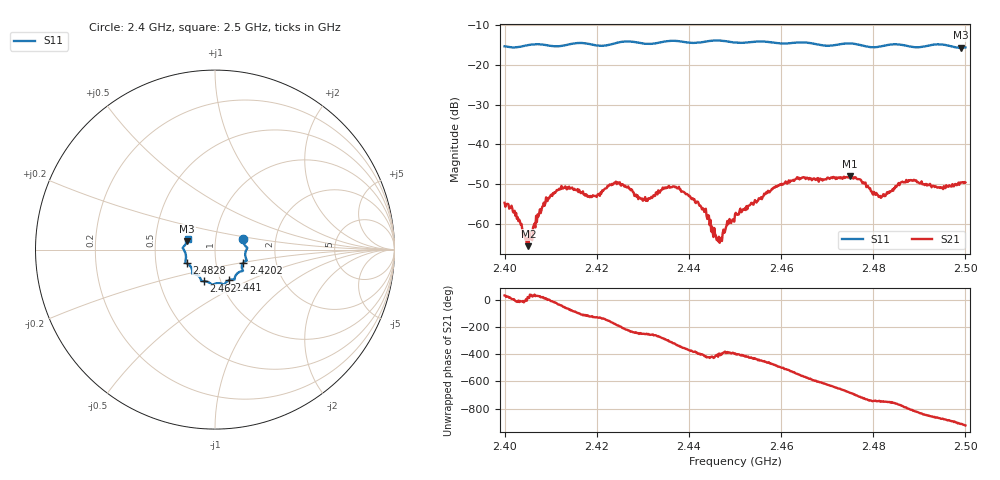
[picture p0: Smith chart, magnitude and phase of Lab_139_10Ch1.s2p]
# Hz S RI R 50
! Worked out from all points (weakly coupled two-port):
!   601 points, 2.4 GHz to 2.5 GHz, reference 50 ohm
!   highest |S21| = -48.04 dB at 2.475 GHz (marker M1); lowest = -65.5 dB at 2.4052 GHz (marker M2)
!   lowest |S11| = -15.8 dB at 2.499 GHz (marker M3), VSWR 1.39, Z = 36.4 + j3.54 ohm
!   |S11| at or under -10 dB: start of sweep to end of sweep
!   S12 and S22 are empty: the file has one direction only
!   S11 on the Smith chart (normalised r, x): 2.4 GHz: 1.36, +0.17; 2.4202 GHz: 1.36, -0.20; 2.441 GHz: 1.10, -0.39; 2.462 GHz: 0.83, -0.30; 2.4828 GHz: 0.72, -0.11; 2.5 GHz: 0.73, +0.09
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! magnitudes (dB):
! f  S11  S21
! 2.4 GHz  -15.4  -54.6
! 2.402 GHz  -15.7  -57.1
! 2.4052 GHz  -15.1  -65.5
! 2.4103 GHz  -15.3  -53.0
! 2.4167 GHz  -14.6  -52.1
! 2.4202 GHz  -15.2  -52.6
! 2.4242 GHz  -14.6  -49.3
! 2.4298 GHz  -14.7  -53.6
! 2.4333 GHz  -14.5  -51.6
! 2.4373 GHz  -14.1  -50.9
! 2.441 GHz  -14.6  -53.9
! 2.4438 GHz  -14.2  -58.0
! 2.4465 GHz  -14.0  -63.2
! 2.45 GHz  -14.4  -57.6
! 2.462 GHz  -14.6  -49.1
! 2.4667 GHz  -14.6  -49.0
! 2.475 GHz  -14.7  -48.0
! 2.4828 GHz  -15.1  -52.5
! 2.4833 GHz  -15.0  -51.9
! 2.4877 GHz  -15.4  -49.0
! 2.499 GHz  -15.8  -49.6
! 2.5 GHz  -15.7  -49.6
